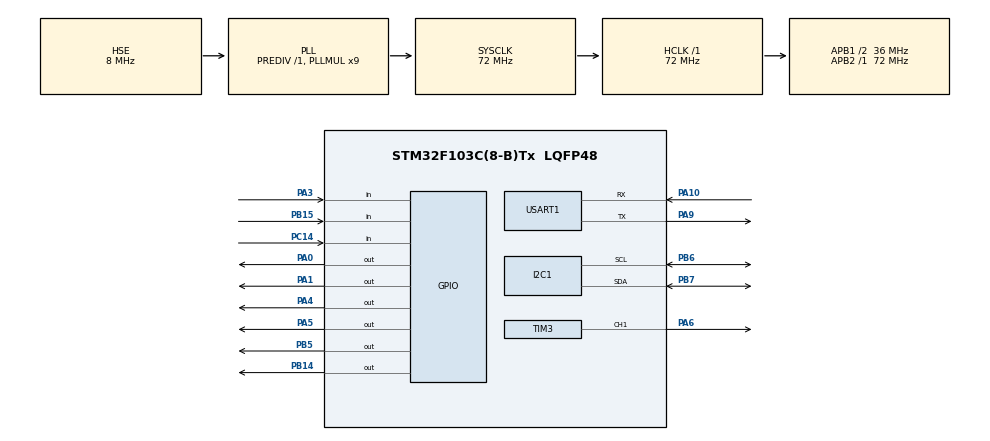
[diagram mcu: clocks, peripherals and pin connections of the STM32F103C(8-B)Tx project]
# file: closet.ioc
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Mcu.Family=STM32F1
Mcu.Name=STM32F103C(8-B)Tx
Mcu.Package=LQFP48
NVIC.PriorityGroup=NVIC_PRIORITYGROUP_4
NVIC.TIM4_IRQn=true\:0\:0\:false\:false\:true\:true\:true\:true
NVIC.USART1_IRQn=true\:0\:0\:false\:false\:true\:true\:true\:true
PA0-WKUP.Signal=GPIO_Output
PA1.Signal=GPIO_Output
PA10.Mode=Asynchronous
PA10.Signal=USART1_RX
PA13.Mode=Serial_Wire
PA13.Signal=SYS_JTMS-SWDIO
PA14.Mode=Serial_Wire
PA14.Signal=SYS_JTCK-SWCLK
PA3.GPIO_PuPd=GPIO_PULLDOWN
PA3.Signal=GPIO_Input
PA4.Signal=GPIO_Output
PA5.Signal=GPIO_Output
PA6.Signal=S_TIM3_CH1
PA9.Mode=Asynchronous
PA9.Signal=USART1_TX
PB14.Signal=GPIO_Output
PB15.GPIO_PuPd=GPIO_PULLUP
PB15.Signal=GPIO_Input
PB5.Signal=GPIO_Output
PB6.Mode=I2C
PB6.Signal=I2C1_SCL
PB7.Mode=I2C
PB7.Signal=I2C1_SDA
PC14-OSC32_IN.GPIO_PuPd=GPIO_PULLDOWN
PC14-OSC32_IN.Signal=GPIO_Input
PD0-OSC_IN.Mode=HSE-External-Oscillator
PD0-OSC_IN.Signal=RCC_OSC_IN
PD1-OSC_OUT.Mode=HSE-External-Oscillator
PD1-OSC_OUT.Signal=RCC_OSC_OUT
ProjectManager.HeapSize=0x200
ProjectManager.StackSize=0x400
ProjectManager.TargetToolchain=MDK-ARM V5.32
RCC.AHBFreq_Value=72000000
RCC.APB1CLKDivider=RCC_HCLK_DIV2
RCC.APB1Freq_Value=36000000
RCC.APB1TimFreq_Value=72000000
RCC.APB2Freq_Value=72000000
RCC.APB2TimFreq_Value=72000000
RCC.HCLKFreq_Value=72000000
RCC.PLLMUL=RCC_PLL_MUL9
RCC.PLLSourceVirtual=RCC_PLLSOURCE_HSE
RCC.SYSCLKFreq_VALUE=72000000
RCC.SYSCLKSource=RCC_SYSCLKSOURCE_PLLCLK
RCC.USBFreq_Value=72000000
SH.S_TIM3_CH1.0=TIM3_CH1,PWM Generation1 CH1
TIM1.Prescaler=72-1
TIM2.Prescaler=72-1
TIM3.Channel-PWM\ Generation1\ CH1=TIM_CHANNEL_1
TIM3.Prescaler=72-1
TIM4.Period=1000-1
TIM4.Prescaler=72-1
USART1.VirtualMode=VM_ASYNC
VP_TIM1_VS_ClockSourceINT.Mode=Internal
VP_TIM2_VS_ClockSourceINT.Mode=Internal
VP_TIM3_VS_ClockSourceINT.Mode=Internal
VP_TIM4_VS_ClockSourceINT.Mode=Internal
board=custom

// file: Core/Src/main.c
/* USER CODE BEGIN Header */
/**
  ******************************************************************************
  * @file           : main.c
  * @brief          : Main program body
  ******************************************************************************
  * @attention
  *
  * Copyright (c) 2025 STMicroelectronics.
  * All rights reserved.
  *
  * This software is licensed under terms that can be found in the LICENSE file
  * in the root directory of this software component.
  * If no LICENSE file comes with this software, it is provided AS-IS.
  *
  ******************************************************************************
  */
/* USER CODE END Header */
#include "main.h"
#include "i2c.h"
#include "tim.h"
#include "usart.h"
#include "gpio.h"

/* USER CODE BEGIN Includes */
#include "stdio.h"
#include "DHT11.h"
#include "jsq.h"
#include "PTC.h"
#include "humi_balance.h"
#include "tem_balance.h"
#include "L9110.h"
#include "IR.H"
#include "OLED.h"
#include "MQ2.h"
#include "Beep.h"

#include "OLED.h"
#include "HC-SR501.h"
#include "esp8266.h"
#include "main_program.h"
#include "time_handle.h"
#include "cJSON.h"
#include "time_handle.h"
#include <string.h>
#include "stdio.h"
/* USER CODE END Includes */

/* USER CODE BEGIN PV */
int16_t ir =2;
uint16_t mq2 = 3;
int value = 2;
uint8_t dataRcvd[10];
int asd = 0;
int rec_buffer = 256;

/* USER CODE END PV */

void SystemClock_Config(void);

/* USER CODE BEGIN 0 */
void irmq2()
{
	  ir = IR_FireData();
		mq2 = MQ2_GetData();
		if(ir == 0&&mq2 == 0)
		{
			OLED_printf(2,0,"normal");
			BEEP_OFF();
		}
		else
		{
			OLED_printf(2,0,"warnin");
		  BEEP_ON();
		}
}
void Body_hc()
{
    value = BODY_HW_GetData();
	  if (value == 1)  // 检测到人体
    {
        OLED_printf(3,0,"people");
			 HAL_GPIO_WritePin(GPIOA, GPIO_PIN_5, GPIO_PIN_RESET);
//			 if (asd == 100)
//			 {
          send_json_data_t();
			 //}

    }
    else
    {
       OLED_printf(3,0,"nonene");
			 HAL_GPIO_WritePin(GPIOA, GPIO_PIN_5, GPIO_PIN_SET);
//			 if (asd == 100)
//			 {
           //send_json_data_f();
			               send_json_data_t();

			// }

    }
}
/* USER CODE END 0 */

int main(void)
{

  /* MCU Configuration--------------------------------------------------------*/

  /* Reset of all peripherals, Initializes the Flash interface and the Systick. */
  HAL_Init();

  /* Configure the system clock */
  SystemClock_Config();

  /* Initialize all configured peripherals */
  MX_GPIO_Init();
  MX_TIM1_Init();
  MX_TIM2_Init();
  MX_TIM3_Init();
  MX_I2C1_Init();
  MX_USART1_UART_Init();
  MX_TIM4_Init();
	 HAL_UART_IRQHandler(&huart1);
  /* USER CODE BEGIN 2 */
	esp8266_send_cmd((uint8_t *)"AT+MQTTUSERCFG=0,1,\"" MQTT_CLIENT_ID "\",\"" MQTT_USER_NAME "\",\"" MQTT_PASSWD "\",0,0,\"\"\r\n", strlen("AT+MQTTUSERCFG=0,1,\"" MQTT_CLIENT_ID "\",\"" MQTT_USER_NAME "\",\"" MQTT_PASSWD "\",0,0,\"\"\r\n"), "OK");
	OLED_init();
  HAL_TIM_Base_Start(&htim1);
	JSQ_Init();
	PTC_Init();
	L9110_Init();
	IR_Init();
	BEEP_Init();
	BODY_HW_Init();
  humi_pid_init();
	temp_pid_init();
  UART_Start_Receive_IT(&huart1,(uint8_t *)&rec_buffer,1);
	esp8266_connect_server();
  /* USER CODE END 2 */

  /* Infinite loop */
  while (1)
  {

    /* USER CODE BEGIN 3 */
		 DHT11_Read_Data();
		 humi_balance();
		 tem_balance();
		 humi_updata_cal();
		 temp_updata_cal();
		 irmq2();
		 Body_hc();
		 OLED_printf(0,0,"temp:%d",Temperature);
		 OLED_printf(1,0,"humi:%d",Humidity );
		 OLED_refresh_gram();
     asd = asd +1;
		 if(asd == 1)
		 {
			  send_json_data_th();
			  asd = 0;
			  if (value == 1)
          send_json_data_t();
				else
          send_json_data_f();
		 }
		 if(asd == 1000)
		 {
			  send_json_data_th();
			  if (value == 1)
          send_json_data_t();
				else
          send_json_data_f();
		 }

     HAL_Delay(100);

  }
  /* USER CODE END 3 */
}

void SystemClock_Config(void)
{
  RCC_OscInitTypeDef RCC_OscInitStruct = {0};
  RCC_ClkInitTypeDef RCC_ClkInitStruct = {0};

  /** Initializes the RCC Oscillators according to the specified parameters
  * in the RCC_OscInitTypeDef structure.
  */
  RCC_OscInitStruct.OscillatorType = RCC_OSCILLATORTYPE_HSE;
  RCC_OscInitStruct.HSEState = RCC_HSE_ON;
  RCC_OscInitStruct.HSEPredivValue = RCC_HSE_PREDIV_DIV1;
  RCC_OscInitStruct.HSIState = RCC_HSI_ON;
  RCC_OscInitStruct.PLL.PLLState = RCC_PLL_ON;
  RCC_OscInitStruct.PLL.PLLSource = RCC_PLLSOURCE_HSE;
  RCC_OscInitStruct.PLL.PLLMUL = RCC_PLL_MUL9;
  if (HAL_RCC_OscConfig(&RCC_OscInitStruct) != HAL_OK)
  {
    Error_Handler();
  }

  /** Initializes the CPU, AHB and APB buses clocks
  */
  RCC_ClkInitStruct.ClockType = RCC_CLOCKTYPE_HCLK|RCC_CLOCKTYPE_SYSCLK
                              |RCC_CLOCKTYPE_PCLK1|RCC_CLOCKTYPE_PCLK2;
  RCC_ClkInitStruct.SYSCLKSource = RCC_SYSCLKSOURCE_PLLCLK;
  RCC_ClkInitStruct.AHBCLKDivider = RCC_SYSCLK_DIV1;
  RCC_ClkInitStruct.APB1CLKDivider = RCC_HCLK_DIV2;
  RCC_ClkInitStruct.APB2CLKDivider = RCC_HCLK_DIV1;

  if (HAL_RCC_ClockConfig(&RCC_ClkInitStruct, FLASH_LATENCY_2) != HAL_OK)
  {
    Error_Handler();
  }
}

void Error_Handler(void)
{
  __disable_irq();
  while (1)
  {
  }
}
